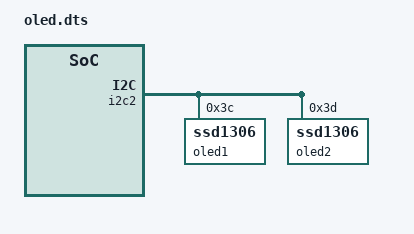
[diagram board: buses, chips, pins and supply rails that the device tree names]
/dts-v1/;
/plugin/;

/ {
    compatible = "ti,beaglebone-black";

    fragment@0 {
        target = <&i2c2>; 
        __overlay__ {
            status = "okay";

            #address-cells = <1>;
            #size-cells = <0>;

            oled1: ssd1306@3c {
                compatible = "ssd1306";
                reg = <0x3c>;
                status = "okay";
            };

            oled2: ssd1306@3d {
                compatible = "ssd1306";
                reg = <0x3d>;
                status = "okay";
            };
        };
    };
};
